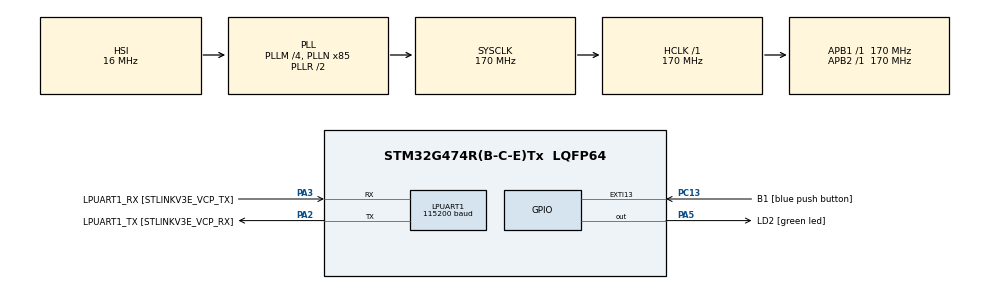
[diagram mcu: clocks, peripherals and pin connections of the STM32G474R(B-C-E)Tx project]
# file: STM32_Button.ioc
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LPUART1.BaudRate=115200
LPUART1.WordLength=UART_WORDLENGTH_8B
Mcu.Family=STM32G4
Mcu.Name=STM32G474R(B-C-E)Tx
Mcu.Package=LQFP64
NVIC.EXTI15_10_IRQn=true\:0\:0\:false\:false\:true\:true\:true\:true
NVIC.PriorityGroup=NVIC_PRIORITYGROUP_4
PA13.GPIO_Label=T_SWDIO
PA13.Mode=Serial_Wire
PA13.Signal=SYS_JTMS-SWDIO
PA14.GPIO_Label=T_SWCLK
PA14.Mode=Serial_Wire
PA14.Signal=SYS_JTCK-SWCLK
PA2.GPIO_Label=LPUART1_TX [STLINKV3E_VCP_RX]
PA2.Mode=Asynchronous
PA2.Signal=LPUART1_TX
PA3.GPIO_Label=LPUART1_RX [STLINKV3E_VCP_TX]
PA3.Mode=Asynchronous
PA3.Signal=LPUART1_RX
PA5.GPIO_Label=LD2 [green led]
PA5.Signal=GPIO_Output
PB3.GPIO_Label=T_SWO
PB3.Signal=SYS_JTDO-SWO
PC13.GPIO_Label=B1 [blue push button]
PC13.Signal=GPXTI13
PC14-OSC32_IN.Mode=LSE-External-Oscillator
PC14-OSC32_IN.Signal=RCC_OSC32_IN
PC15-OSC32_OUT.Mode=LSE-External-Oscillator
PC15-OSC32_OUT.Signal=RCC_OSC32_OUT
PF0-OSC_IN.Mode=HSE-External-Oscillator
PF0-OSC_IN.Signal=RCC_OSC_IN
PF1-OSC_OUT.Mode=HSE-External-Oscillator
PF1-OSC_OUT.Signal=RCC_OSC_OUT
ProjectManager.HeapSize=0x200
ProjectManager.StackSize=0x400
ProjectManager.TargetToolchain=STM32CubeIDE
RCC.ADC12Freq_Value=170000000
RCC.ADC345Freq_Value=170000000
RCC.AHBFreq_Value=170000000
RCC.APB1Freq_Value=170000000
RCC.APB1TimFreq_Value=170000000
RCC.APB2Freq_Value=170000000
RCC.APB2TimFreq_Value=170000000
RCC.CortexFreq_Value=170000000
RCC.EXTERNAL_CLOCK_VALUE=12288000
RCC.HCLKFreq_Value=170000000
RCC.HSE_VALUE=24000000
RCC.HSI48_VALUE=48000000
RCC.HSI_VALUE=16000000
RCC.PLLM=RCC_PLLM_DIV4
RCC.PLLN=85
RCC.RTCClockSelection=RCC_RTCCLKSOURCE_LSE
RCC.SYSCLKFreq_VALUE=170000000
RCC.SYSCLKSource=RCC_SYSCLKSOURCE_PLLCLK
RCC.USBFreq_Value=170000000
RCC.VCOOutputFreq_Value=340000000
VP_SYS_VS_DBSignals.Mode=DisableDeadBatterySignals
board=NUCLEO-G474RE

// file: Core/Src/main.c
/* USER CODE BEGIN Header */
/**
  ******************************************************************************
  * @file           : main.c
  * @brief          : Main program body
  ******************************************************************************
  * @attention
  *
  * Copyright (c) 2024 STMicroelectronics.
  * All rights reserved.
  *
  * This software is licensed under terms that can be found in the LICENSE file
  * in the root directory of this software component.
  * If no LICENSE file comes with this software, it is provided AS-IS.
  *
  ******************************************************************************
  */
/* USER CODE END Header */
#include "main.h"
#include "usart.h"
#include "gpio.h"

/* USER CODE BEGIN Includes */

#include <string.h>
#include "button.h"

/* USER CODE END Includes */

/* USER CODE BEGIN PV */

Tbutton BlueKey;

/* USER CODE END PV */

void SystemClock_Config(void);
/* USER CODE BEGIN PFP */

void ToggleLed(void);
void TurnOnLed(void);
void TurnOffLed(void);
void Release(void);

void UartLog(char * msg);

/* USER CODE END PFP */

int main(void)
{

  /* MCU Configuration--------------------------------------------------------*/

  /* Reset of all peripherals, Initializes the Flash interface and the Systick. */
  HAL_Init();

  /* Configure the system clock */
  SystemClock_Config();

  /* Initialize all configured peripherals */
  MX_GPIO_Init();
  MX_LPUART1_UART_Init();
  /* USER CODE BEGIN 2 */

  ButtonInitKey(&BlueKey, B1_GPIO_Port, B1_Pin, 20, 2000, 500);
  ButtonRegisterPressCallback(&BlueKey, TurnOnLed);
  ButtonRegisterLongPressCallback(&BlueKey, TurnOffLed);
  ButtonRegisterRepeatCallback(&BlueKey, ToggleLed);
  ButtonRegisterReleaseCallback(&BlueKey, Release);

  /* USER CODE END 2 */

  /* Infinite loop */
  /* USER CODE BEGIN WHILE */

  UartLog("Hello world! \r\n");

  while (1)
  {
	  ButtonTask(&BlueKey);

    /* USER CODE END WHILE */

  }
}

void SystemClock_Config(void)
{
  RCC_OscInitTypeDef RCC_OscInitStruct = {0};
  RCC_ClkInitTypeDef RCC_ClkInitStruct = {0};

  /** Configure the main internal regulator output voltage
  */
  HAL_PWREx_ControlVoltageScaling(PWR_REGULATOR_VOLTAGE_SCALE1_BOOST);

  /** Initializes the RCC Oscillators according to the specified parameters
  * in the RCC_OscInitTypeDef structure.
  */
  RCC_OscInitStruct.OscillatorType = RCC_OSCILLATORTYPE_HSI;
  RCC_OscInitStruct.HSIState = RCC_HSI_ON;
  RCC_OscInitStruct.HSICalibrationValue = RCC_HSICALIBRATION_DEFAULT;
  RCC_OscInitStruct.PLL.PLLState = RCC_PLL_ON;
  RCC_OscInitStruct.PLL.PLLSource = RCC_PLLSOURCE_HSI;
  RCC_OscInitStruct.PLL.PLLM = RCC_PLLM_DIV4;
  RCC_OscInitStruct.PLL.PLLN = 85;
  RCC_OscInitStruct.PLL.PLLP = RCC_PLLP_DIV2;
  RCC_OscInitStruct.PLL.PLLQ = RCC_PLLQ_DIV2;
  RCC_OscInitStruct.PLL.PLLR = RCC_PLLR_DIV2;
  if (HAL_RCC_OscConfig(&RCC_OscInitStruct) != HAL_OK)
  {
    Error_Handler();
  }

  /** Initializes the CPU, AHB and APB buses clocks
  */
  RCC_ClkInitStruct.ClockType = RCC_CLOCKTYPE_HCLK|RCC_CLOCKTYPE_SYSCLK
                              |RCC_CLOCKTYPE_PCLK1|RCC_CLOCKTYPE_PCLK2;
  RCC_ClkInitStruct.SYSCLKSource = RCC_SYSCLKSOURCE_PLLCLK;
  RCC_ClkInitStruct.AHBCLKDivider = RCC_SYSCLK_DIV1;
  RCC_ClkInitStruct.APB1CLKDivider = RCC_HCLK_DIV1;
  RCC_ClkInitStruct.APB2CLKDivider = RCC_HCLK_DIV1;

  if (HAL_RCC_ClockConfig(&RCC_ClkInitStruct, FLASH_LATENCY_4) != HAL_OK)
  {
    Error_Handler();
  }
}

/* USER CODE BEGIN 4 */

void ToggleLed(void)
{
	UartLog("ToggleLed \r\n");
	HAL_GPIO_TogglePin(LD2_GPIO_Port, LD2_Pin);

}

void TurnOnLed(void)
{
	UartLog("TurnOnLed \r\n");
	HAL_GPIO_WritePin(LD2_GPIO_Port, LD2_Pin, GPIO_PIN_SET);
}

void TurnOffLed(void)
{
	UartLog("TurnOffLed \r\n");
	HAL_GPIO_WritePin(LD2_GPIO_Port, LD2_Pin, GPIO_PIN_RESET);
}

void Release(void)
{
	UartLog("Released call \r\n");
}

void UartLog(char * msg)
{
	HAL_UART_Transmit(&hlpuart1, (uint8_t*)msg, strlen(msg), 1000);
}

/* USER CODE END 4 */

void Error_Handler(void)
{
  __disable_irq();
  while (1)
  {
  }
}
